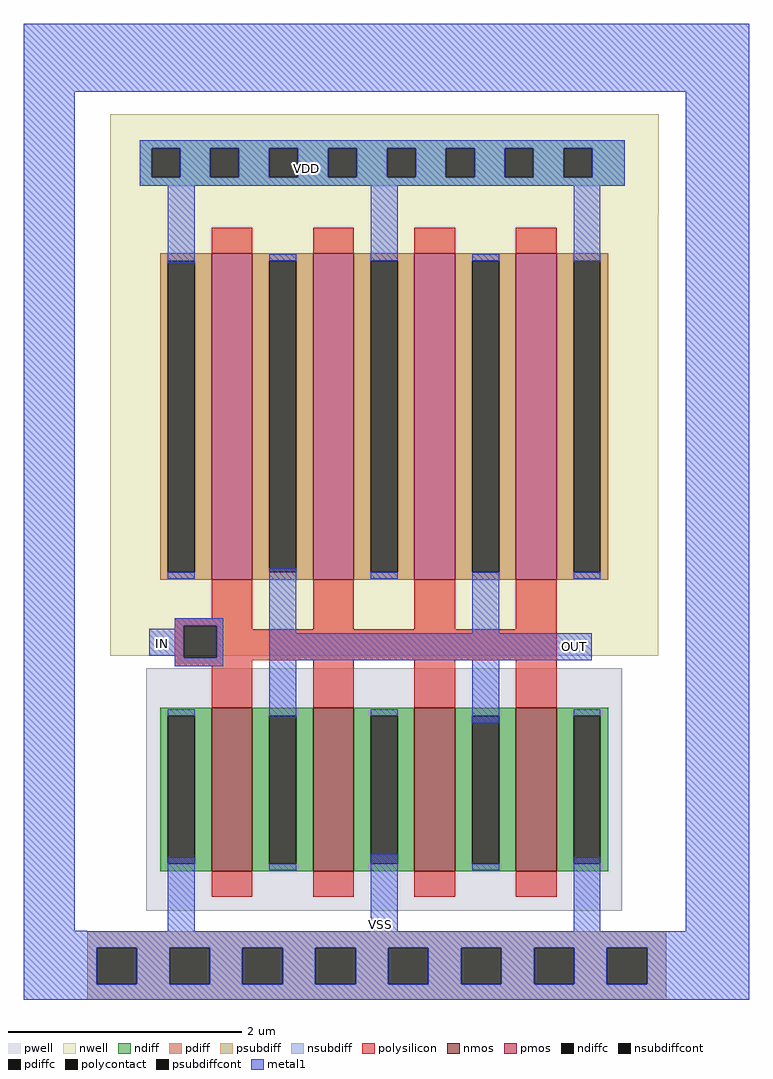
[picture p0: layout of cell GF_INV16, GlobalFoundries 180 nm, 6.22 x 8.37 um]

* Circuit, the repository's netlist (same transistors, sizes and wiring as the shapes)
* NGSPICE file created from GF_INV16.ext - technology: gf180mcuC

.subckt pmos_3p3_MD4UPK a_52_n324# a_226_n324# a_122_n280# a_n52_n280# a_296_n280#
+ w_n470_n410# a_n226_n280# a_n384_n280# a_n122_n324# a_n296_n324#
X0 a_296_n280# a_226_n324# a_122_n280# w_n470_n410# pfet_03v3 ad=1.23p pd=6.48u as=0.728p ps=3.32u w=2.8u l=0.35u
X1 a_n226_n280# a_n296_n324# a_n384_n280# w_n470_n410# pfet_03v3 ad=0.728p pd=3.32u as=1.23p ps=6.48u w=2.8u l=0.35u
X2 a_122_n280# a_52_n324# a_n52_n280# w_n470_n410# pfet_03v3 ad=0.728p pd=3.32u as=0.728p ps=3.32u w=2.8u l=0.35u
X3 a_n52_n280# a_n122_n324# a_n226_n280# w_n470_n410# pfet_03v3 ad=0.728p pd=3.32u as=0.728p ps=3.32u w=2.8u l=0.35u
.ends

.subckt nmos_3p3_S7UZWU a_52_n184# a_226_n184# a_122_n140# a_n52_n140# a_n122_n184#
+ a_296_n140# a_n226_n140# a_n296_n184# a_n384_n140# VSUBS
X0 a_122_n140# a_52_n184# a_n52_n140# VSUBS nfet_03v3 ad=0.364p pd=1.92u as=0.364p ps=1.92u w=1.4u l=0.35u
X1 a_n52_n140# a_n122_n184# a_n226_n140# VSUBS nfet_03v3 ad=0.364p pd=1.92u as=0.364p ps=1.92u w=1.4u l=0.35u
X2 a_296_n140# a_226_n184# a_122_n140# VSUBS nfet_03v3 ad=0.616p pd=3.68u as=0.364p ps=1.92u w=1.4u l=0.35u
X3 a_n226_n140# a_n296_n184# a_n384_n140# VSUBS nfet_03v3 ad=0.364p pd=1.92u as=0.616p ps=3.68u w=1.4u l=0.35u
.ends

.subckt GF_INV16 VDD IN OUT VSS
Xpmos_3p3_MD4UPK_0 IN IN OUT VDD VDD VDD OUT VDD IN IN pmos_3p3_MD4UPK
Xnmos_3p3_S7UZWU_0 IN IN OUT VSS IN VSS OUT IN VSS VSS nmos_3p3_S7UZWU
.ends

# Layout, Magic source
magic
tech gf180mcuC
magscale 1 10
<< nwell >>
rect -60 958 881 1080
rect -60 908 -28 958
rect 830 908 881 958
<< psubdiff >>
rect -99 -349 894 -321
rect -99 -412 -83 -349
rect -14 -412 42 -349
rect 111 -412 167 -349
rect 236 -412 292 -349
rect 361 -412 417 -349
rect 486 -412 542 -349
rect 611 -412 667 -349
rect 736 -412 792 -349
rect 861 -412 894 -349
rect -99 -438 894 -412
<< nsubdiff >>
rect -9 1022 823 1036
rect -9 972 11 1022
rect 60 972 112 1022
rect 161 972 213 1022
rect 262 972 314 1022
rect 363 972 415 1022
rect 464 972 516 1022
rect 565 972 617 1022
rect 666 972 718 1022
rect 767 972 823 1022
rect -9 958 823 972
<< psubdiffcont >>
rect -83 -412 -14 -349
rect 42 -412 111 -349
rect 167 -412 236 -349
rect 292 -412 361 -349
rect 417 -412 486 -349
rect 542 -412 611 -349
rect 667 -412 736 -349
rect 792 -412 861 -349
<< nsubdiffcont >>
rect 11 972 60 1022
rect 112 972 161 1022
rect 213 972 262 1022
rect 314 972 363 1022
rect 415 972 464 1022
rect 516 972 565 1022
rect 617 972 666 1022
rect 718 972 767 1022
<< polysilicon >>
rect 114 216 184 247
rect 51 203 184 216
rect 51 148 66 203
rect 123 197 184 203
rect 288 197 358 246
rect 462 197 532 245
rect 636 197 706 241
rect 123 148 706 197
rect 51 144 706 148
rect 51 134 184 144
rect 114 103 184 134
rect 288 102 358 144
rect 462 101 532 144
rect 636 97 706 144
<< polycontact >>
rect 66 148 123 203
<< metal1 >>
rect -208 1119 1036 1236
rect -208 -320 -121 1119
rect -9 1022 823 1036
rect -9 972 11 1022
rect 60 972 112 1022
rect 161 972 213 1022
rect 262 972 314 1022
rect 363 972 415 1022
rect 464 972 516 1022
rect 565 972 617 1022
rect 666 972 718 1022
rect 767 972 823 1022
rect -9 958 823 972
rect 39 825 85 958
rect 387 829 433 958
rect 735 827 781 958
rect 51 203 134 216
rect 51 198 66 203
rect 7 152 66 198
rect 51 148 66 152
rect 123 148 134 203
rect 51 134 134 148
rect 213 190 259 302
rect 561 190 607 293
rect 213 144 766 190
rect 213 45 259 144
rect 561 36 607 144
rect -208 -321 -99 -320
rect 39 -321 85 -194
rect 387 -321 433 -188
rect 735 -321 781 -194
rect 927 -321 1036 1119
rect -208 -349 1036 -321
rect -208 -412 -83 -349
rect -14 -412 42 -349
rect 111 -412 167 -349
rect 236 -412 292 -349
rect 361 -412 417 -349
rect 486 -412 542 -349
rect 611 -412 667 -349
rect 736 -412 792 -349
rect 861 -412 1036 -349
rect -208 -438 1036 -412
use nmos_3p3_S7UZWU  nmos_3p3_S7UZWU_0
transform 1 0 410 0 1 -78
box -408 -208 408 208
use pmos_3p3_MD4UPK  pmos_3p3_MD4UPK_0
transform 1 0 410 0 1 562
box -470 -410 470 410
<< labels >>
flabel metal1 30 173 30 173 0 FreeSans 320 0 0 0 IN
port 1 nsew
flabel metal1 736 167 736 167 0 FreeSans 320 0 0 0 OUT
port 2 nsew
flabel metal1 403 -309 403 -309 0 FreeSans 320 0 0 0 VSS
port 4 nsew
flabel metal1 277 987 277 987 0 FreeSans 320 0 0 0 VDD
port 0 nsew
<< end >>

# cell nmos_3p3_S7UZWU: kit device nmos_3p3, w 1.4 l 0.35 m 1 nf 4 diffcov 100 polycov 100 guard 0 glc 0 grc 0 gtc 0 gbc 0 tbcov 100 rlcov 100 topc 0 botc 0 poverlap 0 doverlap 1 lmin 0.28 wmin 0.22 full_metal 0 compatible {nmos_3p3 nmos_6p0 nmos_6p0_nat}

# cell pmos_3p3_MD4UPK: kit device pmos_3p3, w 2.8 l 0.35 m 1 nf 4 diffcov 100 polycov 100 guard 0 glc 0 grc 0 gtc 0 gbc 0 tbcov 100 rlcov 100 topc 0 botc 0 poverlap 0 doverlap 1 lmin 0.28 wmin 0.22 full_metal 0 compatible {pmos_3p3 pmos_6p0}
